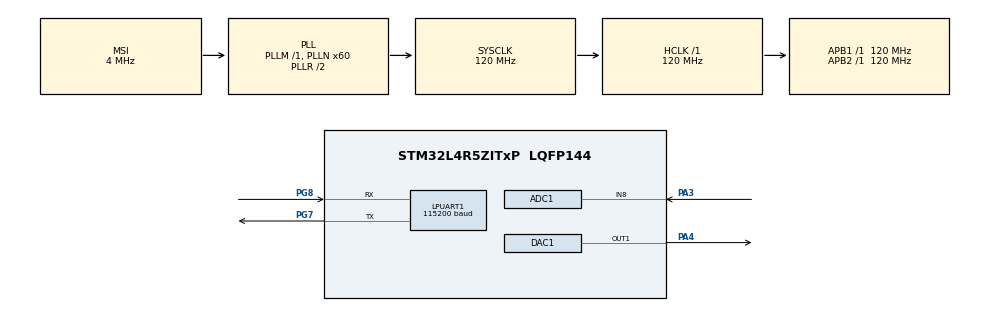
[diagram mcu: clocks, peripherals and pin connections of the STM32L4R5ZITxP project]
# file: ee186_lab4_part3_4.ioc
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ADC1.Channel-1\#ChannelRegularConversion=ADC_CHANNEL_8
ADC1.ClockPrescaler=ADC_CLOCK_ASYNC_DIV8
ADC1.ContinuousConvMode=ENABLE
ADC1.DMAContinuousRequests=ENABLE
ADC1.NbrOfConversionFlag=1
ADC1.OffsetNumber-1\#ChannelRegularConversion=ADC_OFFSET_NONE
ADC1.Rank-1\#ChannelRegularConversion=1
ADC1.SamplingTime-1\#ChannelRegularConversion=ADC_SAMPLETIME_92CYCLES_5
ADC1.master=1
Dma.ADC1.0.Direction=DMA_PERIPH_TO_MEMORY
Dma.ADC1.0.EventEnable=DISABLE
Dma.ADC1.0.Instance=DMA1_Channel1
Dma.ADC1.0.MemDataAlignment=DMA_MDATAALIGN_HALFWORD
Dma.ADC1.0.MemInc=DMA_MINC_ENABLE
Dma.ADC1.0.Mode=DMA_CIRCULAR
Dma.ADC1.0.PeriphDataAlignment=DMA_PDATAALIGN_HALFWORD
Dma.ADC1.0.PeriphInc=DMA_PINC_DISABLE
Dma.ADC1.0.Polarity=HAL_DMAMUX_REQUEST_GEN_RISING
Dma.ADC1.0.Priority=DMA_PRIORITY_LOW
Dma.ADC1.0.RequestNumber=1
Dma.ADC1.0.SignalID=NONE
Dma.ADC1.0.SyncEnable=DISABLE
Dma.ADC1.0.SyncPolarity=HAL_DMAMUX_SYNC_NO_EVENT
Dma.ADC1.0.SyncRequestNumber=1
Dma.ADC1.0.SyncSignalID=NONE
Dma.Request0=ADC1
LPUART1.BaudRate=115200
LPUART1.WordLength=UART_WORDLENGTH_8B
Mcu.Family=STM32L4
Mcu.Name=STM32L4R5ZITxP
Mcu.Package=LQFP144
NVIC.DMA1_Channel1_IRQn=true\:0\:0\:false\:false\:true\:false\:true\:true
NVIC.PriorityGroup=NVIC_PRIORITYGROUP_4
NVIC.TIM3_IRQn=true\:0\:0\:false\:false\:true\:true\:true\:true
PA0.Signal=S_TIM2_CH1
PA1.Signal=ADCx_IN6
PA10.Signal=USB_OTG_FS_ID
PA13\ (JTMS/SWDIO).Signal=SYS_JTMS-SWDIO
PA14\ (JTCK/SWCLK).Signal=SYS_JTCK-SWCLK
PA3.Signal=ADCx_IN8
PA4.Signal=COMP_DAC11_group
PA5.Signal=SPI1_SCK
PA6.Signal=SPI1_MISO
PA7.Signal=SPI1_MOSI
PA8.Signal=USB_OTG_FS_SOF
PA9.Signal=USB_OTG_FS_VBUS
PB0.Signal=S_TIM3_CH3
PB1.Signal=ADCx_IN16
PB10.Signal=S_TIM2_CH3
PB12.Signal=SAI2_FS_A
PB13.Signal=SAI2_SCK_A
PB14.Signal=S_TIM15_CH1
PB15.Signal=SAI2_SD_A
PB2.Signal=COMP1_INP
PB3\ (JTDO/TRACESWO).Signal=SPI3_SCK
PB4\ (NJTRST).Signal=SPI3_MISO
PB5.Signal=SPI3_MOSI
PB6.Signal=COMP2_INP
PB8.Signal=I2C1_SCL
PB9.Signal=I2C1_SDA
PC0.Signal=ADCx_IN1
PC1.Signal=ADCx_IN2
PC10.Signal=SDMMC1_D2
PC11.Signal=SDMMC1_D3
PC12.Signal=SDMMC1_CK
PC13.Signal=SYS_WKUP2
PC14-OSC32_IN\ (PC14).Signal=RCC_OSC32_IN
PC15-OSC32_OUT\ (PC15).Signal=RCC_OSC32_OUT
PC2.Signal=ADCx_IN3
PC3.Signal=ADCx_IN4
PC4.Signal=ADCx_IN13
PC5.Signal=ADCx_IN14
PC6.Signal=SAI2_MCLK_A
PC7.Signal=S_TIM3_CH2
PC8.Signal=SDMMC1_D0
PC9.Signal=SDMMC1_D1
PD0.Signal=CAN1_RX
PD14.Signal=S_TIM4_CH3
PD15.Signal=S_TIM4_CH4
PD2.Signal=SDMMC1_CMD
PD3.Signal=USART2_CTS
PD4.Signal=USART2_RTS
PD5.Signal=USART2_TX
PD6.Signal=USART2_RX
PD8.Signal=USART3_TX
PD9.Signal=USART3_RX
PE0.Signal=S_TIM4_ETR
PE10.Signal=TIM1_CH2N
PE11.Signal=S_TIM1_CH2
PE12.Signal=TIM1_CH3N
PE13.Signal=S_TIM1_CH3
PE14.Signal=TIM1_BKIN2
PE15.Signal=TIM1_BKIN
PE2.Signal=SAI1_MCLK_A
PE3.Signal=SAI1_SD_B
PE7.Signal=S_TIM1_ETR
PE8.Signal=TIM1_CH1N
PE9.Signal=S_TIM1_CH1
PF0.Signal=I2C2_SDA
PF1.Signal=I2C2_SCL
PF2.Signal=I2C2_SMBA
PF7.Signal=SAI1_MCLK_B
PG7.Mode=Asynchronous
PG7.Signal=LPUART1_TX
PG8.Mode=Asynchronous
PG8.Signal=LPUART1_RX
PG9.Signal=USART1_TX
PG9.Stacked=true
PH0-OSC_IN\ (PH0).Signal=RCC_OSC_IN
PH1-OSC_OUT\ (PH1).Signal=RCC_OSC_OUT
ProjectManager.HeapSize=0x200
ProjectManager.StackSize=0x400
ProjectManager.TargetToolchain=STM32CubeIDE
RCC.ADCFreq_Value=48000000
RCC.AHBFreq_Value=120000000
RCC.APB1Freq_Value=120000000
RCC.APB1TimFreq_Value=120000000
RCC.APB2Freq_Value=120000000
RCC.APB2TimFreq_Value=120000000
RCC.CortexFreq_Value=120000000
RCC.HCLKFreq_Value=120000000
RCC.HSE_VALUE=8000000
RCC.HSI48_VALUE=48000000
RCC.HSI_VALUE=16000000
RCC.LSE_VALUE=32768
RCC.MSI_VALUE=4000000
RCC.PLLN=60
RCC.PLLSAI1N=24
RCC.SYSCLKFreq_VALUE=120000000
RCC.SYSCLKSource=RCC_SYSCLKSOURCE_PLLCLK
RCC.USBFreq_Value=48000000
RCC.VCOOutputFreq_Value=240000000
SH.ADCx_IN1.0=ADC1_IN1
SH.ADCx_IN13.0=ADC1_IN13
SH.ADCx_IN14.0=ADC1_IN14
SH.ADCx_IN16.0=ADC1_IN16
SH.ADCx_IN2.0=ADC1_IN2
SH.ADCx_IN3.0=ADC1_IN3
SH.ADCx_IN4.0=ADC1_IN4
SH.ADCx_IN6.0=ADC1_IN6
SH.ADCx_IN8.0=ADC1_IN8,IN8-Single-Ended
SH.COMP_DAC11_group.0=DAC1_OUT1,DAC_OUT1
SH.S_TIM15_CH1.0=TIM15_CH1
SH.S_TIM1_CH1.0=TIM1_CH1
SH.S_TIM1_CH2.0=TIM1_CH2
SH.S_TIM1_CH3.0=TIM1_CH3
SH.S_TIM1_ETR.0=TIM1_ETR
SH.S_TIM2_CH1.0=TIM2_CH1
SH.S_TIM2_CH3.0=TIM2_CH3
SH.S_TIM3_CH2.0=TIM3_CH2
SH.S_TIM3_CH3.0=TIM3_CH3
SH.S_TIM4_CH3.0=TIM4_CH3
SH.S_TIM4_CH4.0=TIM4_CH4
SH.S_TIM4_ETR.0=TIM4_ETR
TIM3.Period=1000
VP_TIM3_VS_ClockSourceINT.Mode=Internal
board=NUCLEO-L4R5ZI-P

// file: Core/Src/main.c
/* USER CODE BEGIN Header */
/**
  ******************************************************************************
  * @file           : main.c
  * @brief          : Main program body
  ******************************************************************************
  * @attention
  *
  * Copyright (c) 2025 STMicroelectronics.
  * All rights reserved.
  *
  * This software is licensed under terms that can be found in the LICENSE file
  * in the root directory of this software component.
  * If no LICENSE file comes with this software, it is provided AS-IS.
  *
  ******************************************************************************
  */
/* USER CODE END Header */
#include "main.h"
#include "adc.h"
#include "dac.h"
#include "dma.h"
#include "usart.h"
#include "tim.h"
#include "gpio.h"

/* USER CODE BEGIN Includes */

#include <malloc.h>
#include <math.h>
#include <stdio.h>
#include <string.h>
#include "utils.h"
#include "music_player.h"

/* USER CODE END Includes */

/* USER CODE BEGIN PV */
volatile uint32_t value_adc;

/* USER CODE END PV */

void SystemClock_Config(void);

/* USER CODE BEGIN 0 */

#define DAC_MAX 4095   // 12-bit DAC

//void set_note_freq(int f_note) {
//	int f_clk = 120000000;
//	int set_arr = f_clk / f_note / SINE_TABLE_LEN;
//	TIM3_change_ARR(set_arr);
//}

/* USER CODE END 0 */

int main(void)
{

  /* MCU Configuration--------------------------------------------------------*/

  /* Reset of all peripherals, Initializes the Flash interface and the Systick. */
  HAL_Init();

  /* Configure the system clock */
  SystemClock_Config();

  /* Initialize all configured peripherals */
  MX_GPIO_Init();
  MX_DMA_Init();
  MX_ADC1_Init();
  MX_LPUART1_UART_Init();
  MX_DAC1_Init();
  MX_TIM3_Init();

  /* USER CODE BEGIN 2 */

  HAL_DAC_Start(&hdac1, DAC_CHANNEL_1);

  HAL_ADCEx_Calibration_Start(&hadc1, ADC_SINGLE_ENDED);
  // configure direct memory access to value_adc
  HAL_ADC_Start_DMA(&hadc1,(uint32_t*)&value_adc,1);

  /* USER CODE END 2 */

  /* Infinite loop */
  /* USER CODE BEGIN WHILE */
  printf("\r\n Beginning primary software loop \n");

  // FOR PART 3
  set_note_freq(262); // 262 Hz -> Middle C

  HAL_Delay(1000);

  HAL_TIM_Base_Start_IT(&htim3);
  HAL_NVIC_SetPriority(TIM3_IRQn, 0, 0);
  HAL_NVIC_EnableIRQ(TIM3_IRQn);

  while (1)
  {
    /* USER CODE END WHILE */

    /* USER CODE BEGIN 3 */

	// FOR DEBUGGING ARR-controlled frequency
//	uint16_t copy = value_adc;
//	set_note_freq(f_min + copy*(f_max-f_min)/DAC_MAX);

	// FOR DEBUG
	// can use to check the ARR being set by the TIM3 interrupt handler
	// HAL_Delay(100);
	// uint32_t arr = __HAL_TIM_GET_AUTORELOAD(&htim3);
	// printf("\r%lu\n", arr);

  }
  /* USER CODE END 3 */
}

void SystemClock_Config(void)
{
  RCC_OscInitTypeDef RCC_OscInitStruct = {0};
  RCC_ClkInitTypeDef RCC_ClkInitStruct = {0};

  /** Configure the main internal regulator output voltage
  */
  if (HAL_PWREx_ControlVoltageScaling(PWR_REGULATOR_VOLTAGE_SCALE1_BOOST) != HAL_OK)
  {
    Error_Handler();
  }

  /** Initializes the RCC Oscillators according to the specified parameters
  * in the RCC_OscInitTypeDef structure.
  */
  RCC_OscInitStruct.OscillatorType = RCC_OSCILLATORTYPE_MSI;
  RCC_OscInitStruct.MSIState = RCC_MSI_ON;
  RCC_OscInitStruct.MSICalibrationValue = 0;
  RCC_OscInitStruct.MSIClockRange = RCC_MSIRANGE_6;
  RCC_OscInitStruct.PLL.PLLState = RCC_PLL_ON;
  RCC_OscInitStruct.PLL.PLLSource = RCC_PLLSOURCE_MSI;
  RCC_OscInitStruct.PLL.PLLM = 1;
  RCC_OscInitStruct.PLL.PLLN = 60;
  RCC_OscInitStruct.PLL.PLLP = RCC_PLLP_DIV2;
  RCC_OscInitStruct.PLL.PLLQ = RCC_PLLQ_DIV2;
  RCC_OscInitStruct.PLL.PLLR = RCC_PLLR_DIV2;
  if (HAL_RCC_OscConfig(&RCC_OscInitStruct) != HAL_OK)
  {
    Error_Handler();
  }

  /** Initializes the CPU, AHB and APB buses clocks
  */
  RCC_ClkInitStruct.ClockType = RCC_CLOCKTYPE_HCLK|RCC_CLOCKTYPE_SYSCLK
                              |RCC_CLOCKTYPE_PCLK1|RCC_CLOCKTYPE_PCLK2;
  RCC_ClkInitStruct.SYSCLKSource = RCC_SYSCLKSOURCE_PLLCLK;
  RCC_ClkInitStruct.AHBCLKDivider = RCC_SYSCLK_DIV1;
  RCC_ClkInitStruct.APB1CLKDivider = RCC_HCLK_DIV1;
  RCC_ClkInitStruct.APB2CLKDivider = RCC_HCLK_DIV1;

  if (HAL_RCC_ClockConfig(&RCC_ClkInitStruct, FLASH_LATENCY_5) != HAL_OK)
  {
    Error_Handler();
  }
}

void Error_Handler(void)
{
  __disable_irq();
  while (1)
  {
  }
}
